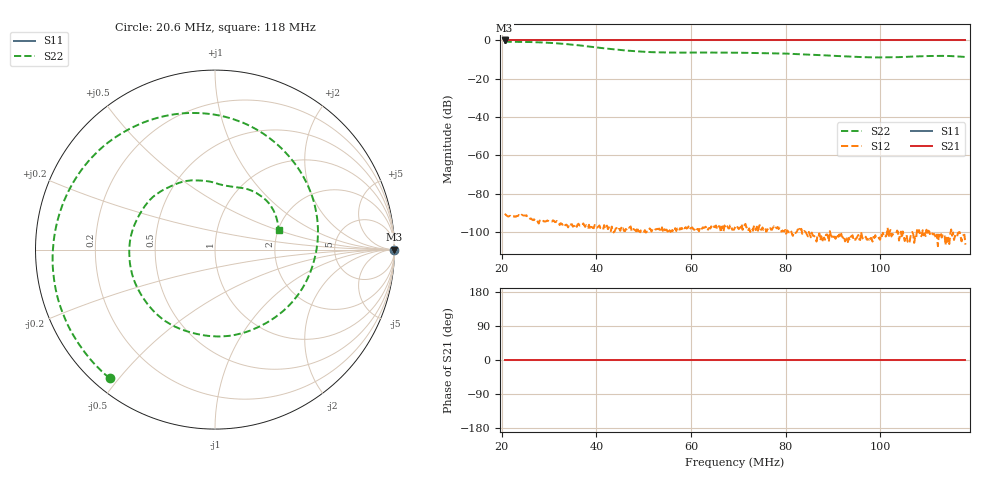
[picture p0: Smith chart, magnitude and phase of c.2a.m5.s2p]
! Anritsu VNA Master:  Model: MS2036C/10/77
! SN:  1601066
! /bd0/18may10/252.ew.m5.s2p
! Existing Calibration Information:
! TYPE:  Current Settings,  Active Cal Settings
! TIME:  05/10/2018 06:32:46 PM,  05/10/2018 06:18:15 PM
! INTERNAL TEMP:  60.8 C,  60.0 C
! # POINTS:  487,  487
! START FREQ:  20.601 202 MHz,  20.601 202 MHz
! STOP FREQ:  117.995 991 MHz,  117.995 991 MHz
! SOURCE POWER:  High,  High
! IFBW:  50 Hz,  50 Hz
! AVG FACTOR:  1 ,  1
! REF PLANE 1:  0 mm,  0 mm
! REF PLANE 2:  0 mm,  0 mm
! CAL TYPE:  Full S22,  Full S22
! CAL METHOD:  SOLT,  SOLT
! CAL LINE TYPE:  Coax,  Coax
! DUT PORT 1:  K-Conn(M),  K-Conn(M)
! DUT PORT 2:  K-Conn(M),  K-Conn(M)
! CAL STATUS:  OK: Accuracy High,  --
# GHZ S DB R 50.0
! FREQ.GHZ  S11DB  S11A  S21DB  S21A  S12DB  S12A  S22DB  S22A
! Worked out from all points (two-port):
!   487 points, 20.6 MHz to 118 MHz, reference 50 ohm
!   highest |S21| = 0.00 dB at 20.6 MHz (marker M1); lowest = 0.0 dB at 20.6 MHz (marker M2)
!   |S21| within 3 dB of the highest: start of sweep to end of sweep
!   lowest |S11| = 0.0 dB at 20.6 MHz (marker M3)
!   |S11| at or under -10 dB: nowhere
!   |S22| runs from -8.9 to -0.7 dB; largest |S21 - S12| = 1
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0.0206012  0.00 0.0  0.00 0.0  -90.54 32.2  -0.66 -129.3
0.02480962  0.00 0.0  0.00 0.0  -91.40 31.2  -0.75 -162.7
0.02661323  0.00 0.0  0.00 0.0  -93.84 24.9  -0.87 -177.9
0.02841683  0.00 0.0  0.00 0.0  -94.52 32.3  -1.03 165.8
0.03062124  0.00 0.0  0.00 0.0  -94.54 26.4  -1.31 145.0
0.03302605  0.00 0.0  0.00 0.0  -95.85 16.6  -1.77 121.3
0.03482966  0.00 0.0  0.00 0.0  -95.97 24.2  -2.17 102.6
0.03683367  0.00 0.0  0.00 0.0  -96.88 20.7  -2.69 81.9
0.04044088  0.00 0.0  0.00 0.0  -97.15 24.3  -3.77 44.3
0.0436473  0.00 0.0  0.00 0.0  -100.24 28.6  -4.64 12.0
0.04825651  0.00 0.0  0.00 0.0  -99.32 26.7  -5.62 -31.3
0.05306613  0.00 0.0  0.00 0.0  -98.49 33.9  -6.20 -71.1
0.05627255  0.00 0.0  0.00 0.0  -99.82 25.2  -6.33 -93.7
0.06008016  0.00 0.0  0.00 0.0  -97.87 27.3  -6.31 -118.8
0.06488978  0.00 0.0  0.00 0.0  -97.12 23.6  -6.34 -147.1
0.0692986  0.00 0.0  0.00 0.0  -97.53 16.7  -6.37 -170.8
0.07831663  0.00 0.0  0.00 0.0  -97.45 -4.8  -6.76 147.2
0.08553106  0.00 0.0  0.00 0.0  -100.35 -3.5  -7.47 118.8
0.09294589  0.00 0.0  0.00 0.0  -103.35 13.3  -8.37 95.4
0.1017635  0.00 0.0  0.00 0.0  -102.81 -19.6  -8.83 76.5
0.1105812  0.00 0.0  0.00 0.0  -101.93 -6.0  -8.12 50.6
0.117996  0.00 0.0  0.00 0.0  -106.62 -11.8  -8.63 17.0
